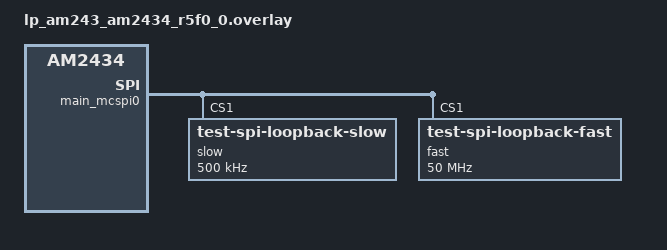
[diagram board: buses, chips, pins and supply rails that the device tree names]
/*
 * Copyright (c) 2025 Texas Instruments
 * Copyright (c) 2026 Siemens Mobility GmbH
 *
 * SPDX-License-Identifier: Apache-2.0
 */

#include <freq.h>

&main_pinctrl {
	spi0_cs1: spi0_cs1_default {
		pinmux = <K3_PINMUX(0x20c, PIN_OUTPUT_PULLUP, MUX_MODE_0)>;
	};

	spi0_clk: spi0_clk_default {
		pinmux = <K3_PINMUX(0x210, PIN_OUTPUT, MUX_MODE_0)>;
	};

	spi0_d0: spi0_d0_default {
		pinmux = <K3_PINMUX(0x214, PIN_INPUT, MUX_MODE_0)>;
	};

	spi0_d1: spi0_d1_default {
		pinmux = <K3_PINMUX(0x218, PIN_OUTPUT, MUX_MODE_0)>;
	};

	status = "okay";
};

/* CS1 is used so it's observable with a logic analyzer */
&main_mcspi0 {
	pinctrl-0 = <&spi0_clk &spi0_cs1 &spi0_d0 &spi0_d1>;
	pinctrl-names = "default";

	slow@1 {
		compatible = "test-spi-loopback-slow";
		reg = <1>;
		spi-max-frequency = <DT_FREQ_K(500)>;
	};

	fast@1 {
		compatible = "test-spi-loopback-fast";
		reg = <1>;
		spi-max-frequency = <DT_FREQ_M(50)>;
	};

	status = "okay";
};
